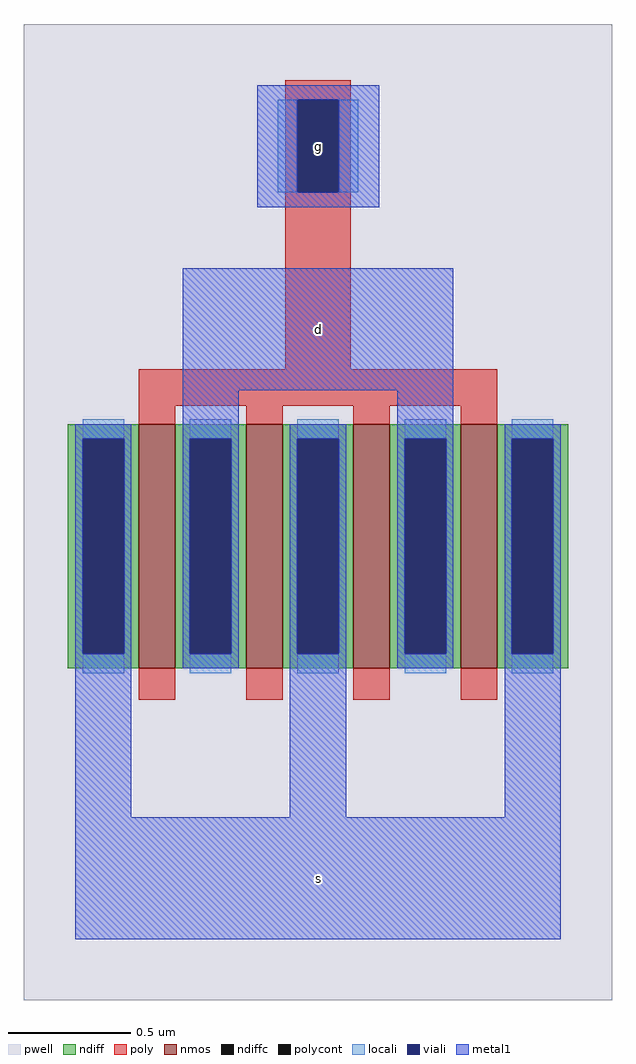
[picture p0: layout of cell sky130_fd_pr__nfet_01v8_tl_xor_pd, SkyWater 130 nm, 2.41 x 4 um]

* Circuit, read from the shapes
.subckt sky130_fd_pr__nfet_01v8_tl_xor_pd d g s
XM1 d g s VSUBS sky130_fd_pr__nfet_01v8 w=1 l=0.15 m=4
.ends

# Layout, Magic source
magic
tech sky130A
magscale 1 2
<< pwell >>
rect -109 -999 373 -199
<< nmos >>
rect -15 -727 15 -527
rect 73 -727 103 -527
rect 161 -727 191 -527
rect 249 -727 279 -527
<< ndiff >>
rect -73 -539 -15 -527
rect -73 -715 -61 -539
rect -27 -715 -15 -539
rect -73 -727 -15 -715
rect 15 -539 73 -527
rect 15 -715 27 -539
rect 61 -715 73 -539
rect 15 -727 73 -715
rect 103 -539 161 -527
rect 103 -715 115 -539
rect 149 -715 161 -539
rect 103 -727 161 -715
rect 191 -539 249 -527
rect 191 -715 203 -539
rect 237 -715 249 -539
rect 191 -727 249 -715
rect 279 -539 337 -527
rect 279 -715 291 -539
rect 325 -715 337 -539
rect 279 -727 337 -715
<< ndiffc >>
rect -61 -715 -27 -539
rect 27 -715 61 -539
rect 115 -715 149 -539
rect 203 -715 237 -539
rect 291 -715 325 -539
<< poly >>
rect 105 -261 159 -245
rect 105 -337 115 -261
rect 149 -337 159 -261
rect 105 -482 159 -337
rect -15 -512 279 -482
rect -15 -527 15 -512
rect 73 -527 103 -512
rect 161 -527 191 -512
rect 249 -527 279 -512
rect -15 -753 15 -727
rect 73 -753 103 -727
rect 161 -753 191 -727
rect 249 -753 279 -727
<< polycont >>
rect 115 -337 149 -261
<< locali >>
rect 99 -337 115 -261
rect 149 -337 165 -261
rect -61 -539 -27 -523
rect -61 -731 -27 -715
rect 27 -539 61 -523
rect 27 -731 61 -715
rect 115 -539 149 -523
rect 115 -731 149 -715
rect 203 -539 237 -523
rect 203 -731 237 -715
rect 291 -539 325 -523
rect 291 -731 325 -715
<< viali >>
rect 115 -337 149 -261
rect -61 -715 -27 -539
rect 27 -715 61 -539
rect 115 -715 149 -539
rect 203 -715 237 -539
rect 291 -715 325 -539
<< metal1 >>
rect 82 -261 182 -249
rect 82 -337 115 -261
rect 149 -337 182 -261
rect 82 -349 182 -337
rect 21 -499 243 -399
rect -67 -539 -21 -527
rect -67 -715 -61 -539
rect -27 -715 -21 -539
rect -67 -849 -21 -715
rect 21 -539 67 -499
rect 21 -715 27 -539
rect 61 -715 67 -539
rect 21 -727 67 -715
rect 109 -539 155 -527
rect 109 -715 115 -539
rect 149 -715 155 -539
rect 109 -849 155 -715
rect 197 -539 243 -499
rect 197 -715 203 -539
rect 237 -715 243 -539
rect 197 -727 243 -715
rect 285 -539 331 -527
rect 285 -715 291 -539
rect 325 -715 331 -539
rect 285 -849 331 -715
rect -67 -949 331 -849
<< labels >>
flabel metal1 82 -499 182 -399 0 FreeSans 200 0 0 0 d
port 1 nsew
flabel metal1 82 -349 182 -249 0 FreeSans 200 0 0 0 g
port 2 nsew
flabel metal1 82 -949 182 -849 0 FreeSans 200 0 0 0 s
port 3 nsew
<< end >>
